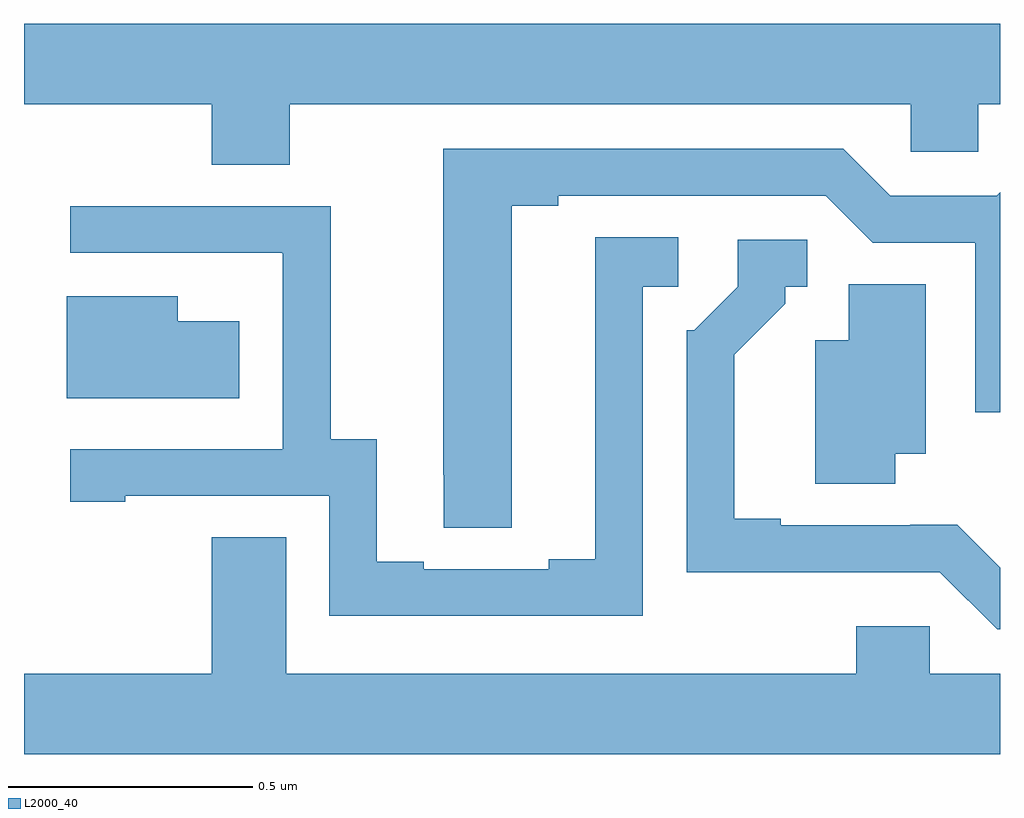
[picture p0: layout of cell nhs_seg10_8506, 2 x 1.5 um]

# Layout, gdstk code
import gdstk
lib = gdstk.Library(unit=1e-6, precision=1e-09)
def P(c, l, *ps):  # polygons
    for p in ps: c.add(gdstk.Polygon(p, *l))
L2000_40 = (2000, 40)

nhs_seg10_8506 = lib.new_cell('nhs_seg10_8506')
P(nhs_seg10_8506, L2000_40, [(217.545,1314.968),(218.817,1314.968),(218.817,1314.87),(218.955,1314.87),(218.955,1314.968),(219,1314.968),(219,1315.132),(217,1315.132),(217,1314.968),(217.385,1314.968),(217.385,1314.844),(217.545,1314.844)],
  [(217.999,1314.76),(218.095,1314.76),(218.095,1314.78),(218.643,1314.78),(218.739,1314.684),(218.949,1314.684),(218.949,1314.336),(219,1314.336),(219,1314.787),(218.993,1314.78),(218.775,1314.78),(218.679,1314.876),(217.859,1314.876),(217.859,1314.208),(217.86,1314.208),(217.86,1314.1),(217.999,1314.1)],
  [(218.268,1314.594),(218.341,1314.594),(218.341,1314.695),(218.171,1314.695),(218.171,1314.035),(218.075,1314.035),(218.075,1314.015),(217.819,1314.015),(217.819,1314.03),(217.723,1314.03),(217.723,1314.281),(217.629,1314.281),(217.629,1314.759),(217.095,1314.759),(217.095,1314.663),(217.529,1314.663),(217.529,1314.662),(217.53,1314.662),(217.53,1314.261),(217.095,1314.261),(217.095,1314.153),(217.207,1314.153),(217.207,1314.165),(217.626,1314.165),(217.626,1313.919),(218.268,1313.919)],
  [(219,1314.018),(218.912,1314.106),(218.816,1314.106),(218.816,1314.105),(218.551,1314.105),(218.551,1314.118),(218.455,1314.118),(218.455,1314.454),(218.56,1314.559),(218.56,1314.594),(218.605,1314.594),(218.605,1314.69),(218.463,1314.69),(218.463,1314.594),(218.373,1314.504),(218.358,1314.504),(218.358,1314.008),(218.621,1314.008),(218.621,1314.009),(218.877,1314.009),(218.994,1313.892),(219,1313.892)],
  [(218.785,1314.251),(218.848,1314.251),(218.848,1314.599),(218.69,1314.599),(218.69,1314.484),(218.621,1314.484),(218.621,1314.19),(218.785,1314.19)],
  [(217.441,1314.523),(217.315,1314.523),(217.315,1314.574),(217.088,1314.574),(217.088,1314.365),(217.441,1314.365)],
  [(219,1313.8),(218.856,1313.8),(218.856,1313.898),(218.705,1313.898),(218.705,1313.8),(217.537,1313.8),(217.537,1314.08),(217.385,1314.08),(217.385,1313.8),(217,1313.8),(217,1313.636),(219,1313.636)])

lib.write_gds('nhs_seg10_8506.gds')
